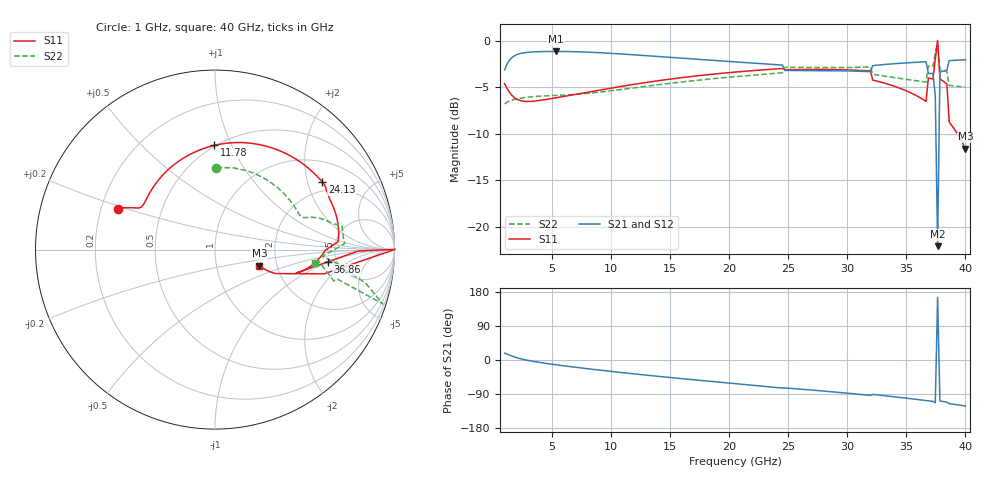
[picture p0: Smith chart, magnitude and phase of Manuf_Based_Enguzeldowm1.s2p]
! Touchstone file exported from HFSS 2019.3.0
!  File:  C:/Users/user/Documents/Ansoft/Manuf_Based.aedt
!  Generated:  12:29:45 AM  Nov 15, 2020
!  Design:  Enguzeldowm1
!  Project:  Manuf_Based
!  Setup:  Setup1
!  Solution:  Sweep
! Variables:
!  Bridge_Height = 1um
!  L_Bridge = 400um
!  L_Gold_Recess = 300um
!  L_Model = 780um
!  L_Recess = 180um
!  L_Upper_Pad = 60um
!  L_tl_Unmatched = 600um
!  Lambda = 11530479.1538nm
!  W_Anchor = 60um
!  W_Bridge = 60um
!  W_Gold_Recess = 60um
!  W_Lower_Pad = 85um
!  W_Model = 2000um
!  W_Recess = 400um
!  W_Upper_Pad = 85um
!  W_gap = 100um
!  W_real_pad = 60um
!  W_signal = 85um
!  h_Recess = 1.5um
!  t_dielectric = 0.5um
!  t_gold = 1um
!  t_substrate = 500um
# GHZ S MA R 50.000000
! Modal data exported
! Port[1] = 1:1
! Port[2] = 2:1
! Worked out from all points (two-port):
!   200 points, 1 GHz to 40 GHz, reference 50 ohm
!   highest |S21| = -1.14 dB at 5.312 GHz (marker M1); lowest = -22.1 dB at 37.65 GHz (marker M2)
!   |S21| within 3 dB of the highest: start of sweep to 37.31 GHz; 37.84 GHz to end of sweep
!   lowest |S11| = -11.6 dB at 40 GHz (marker M3), VSWR 1.71, Z = 81 - j15.5 ohm
!   |S11| at or under -10 dB: 39.31 GHz to end of sweep
!   |S22| runs from -6.8 to -0.2 dB; largest |S21 - S12| = 2.4e-14
!   S11 on the Smith chart (normalised r, x): 1 GHz: 0.27, +0.19; 11.78 GHz: 0.49, +0.86; 24.13 GHz: 1.65, +2.48; 36.86 GHz: 4.19, -0.95; 40 GHz: 1.62, -0.31
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1  0.5879 157.4  0.6969 18.1  0.6969 18.1  0.4573 89.0
! Gamma ! 3.16279451866229 39.1701698276456 4.55785604762712 45.1452640156786
! Port Impedance50 0 50 0
1.58794  0.5111 152.9  0.809 10.6  0.809 10.6  0.4789 60.8
2.371859  0.4758 150.3  0.8552 3.1  0.8552 3.1  0.4915 43.1
5.311558  0.4929 132.7  0.8766 -12.5  0.8766 -12.5  0.5076 23.4
7.663317  0.5242 116.2  0.8705 -21.7  0.8705 -21.7  0.5185 20.3
11.77889  0.5808 90.3  0.8419 -36.1  0.8419 -36.1  0.5563 18.8
14.13065  0.6112 77.3  0.8218 -43.5  0.8218 -43.5  0.5814 18.0
20.59799  0.6793 46.7  0.7693 -62.6  0.7693 -62.6  0.6416 14.6
24.12563  0.7068 32.2  0.7432 -72.9  0.7432 -72.9  0.6699 12.6
24.71357  0.6978 23.7  0.6928 -73.6  0.6928 -73.6  0.7196 10.6
27.06533  0.7016 17.1  0.6909 -79.5  0.6909 -79.5  0.7187 8.0
31.96482  0.688 3.7  0.6818 -93.3  0.6818 -93.3  0.7232 2.7
33.53266  0.5818 -4.9  0.749 -95.5  0.749 -95.5  0.6397 -1.3
36.66834  0.4721 -16.1  0.7716 -107.0  0.7716 -107.0  0.5991 -3.6
36.86432  0.6311 -6.2  0.6664 -107.9  0.6664 -107.9  0.7299 -7.7
37.25628  0.6225 -6.6  0.6673 -109.2  0.6673 -109.2  0.7281 -8.8
37.45226  0.7975 -0.6  0.5058 -112.9  0.5058 -112.9  0.8578 -12.4
37.64824  1.004 0.1  0.07843 165.4  0.07843 165.4  0.982 -17.9
37.84422  0.6235 -12.5  0.6798 -108.2  0.6798 -108.2  0.7017 -13.6
38.43216  0.5854 -13.3  0.6941 -111.1  0.6941 -111.1  0.6846 -14.8
38.62814  0.3652 -21.5  0.7824 -115.1  0.7824 -115.1  0.5757 -5.8
40  0.2627 -19.9  0.7901 -121.4  0.7901 -121.4  0.563 -7.9
